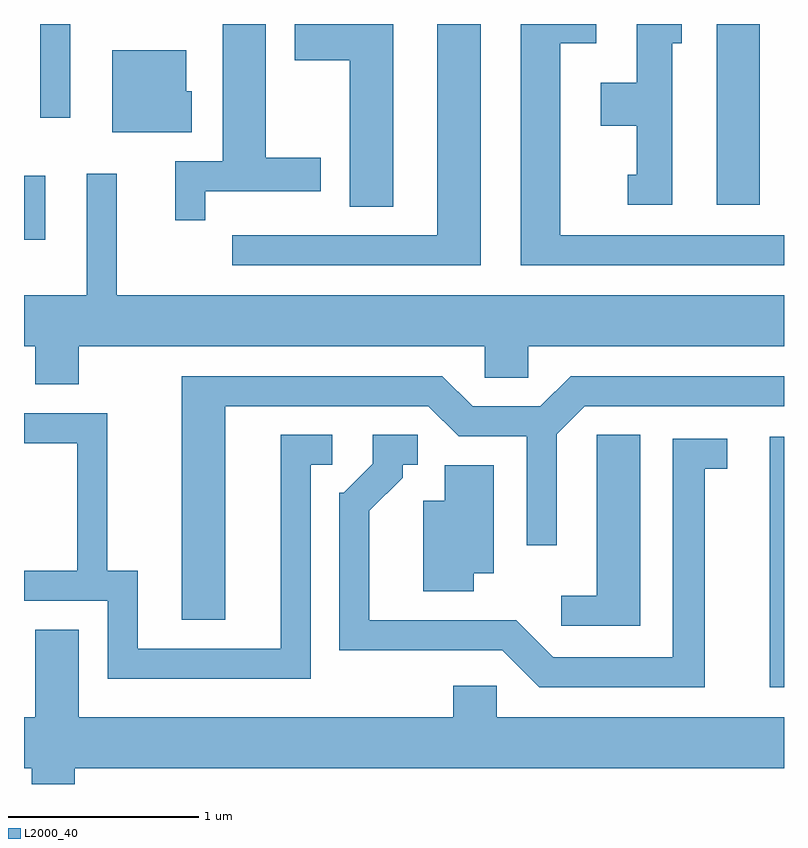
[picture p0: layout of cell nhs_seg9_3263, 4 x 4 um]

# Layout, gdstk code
import gdstk
lib = gdstk.Library(unit=1e-6, precision=1e-09)
def R(c, l, rs):  # rectangles x0, y0, x1, y1
    for r in rs: c.add(gdstk.rectangle(r[:2], r[2:], *l))
def P(c, l, *ps):  # polygons
    for p in ps: c.add(gdstk.Polygon(p, *l))
L2000_40 = (2000, 40)

nhs_seg9_3263 = lib.new_cell('nhs_seg9_3263')
R(nhs_seg9_3263, L2000_40, [(285.536,1958.941,285.611,1960.259), (281.611,1961.296,281.724,1961.634), (285.256,1961.481,285.484,1962.432), (281.696,1961.938,281.854,1962.432)])
P(nhs_seg9_3263, L2000_40, [(283.554,1962.432),(283.036,1962.432),(283.036,1962.241),(283.326,1962.241),(283.326,1961.471),(283.554,1961.471)],
  [(285.611,1961.319),(284.434,1961.319),(284.434,1962.331),(284.623,1962.331),(284.623,1962.432),(284.226,1962.432),(284.226,1961.161),(285.611,1961.161)],
  [(285.024,1962.331),(285.073,1962.331),(285.073,1962.432),(284.836,1962.432),(284.836,1962.124),(284.646,1962.124),(284.646,1961.896),(284.836,1961.896),(284.836,1961.639),(284.788,1961.639),(284.788,1961.481),(285.024,1961.481)],
  [(282.564,1961.551),(283.174,1961.551),(283.174,1961.729),(282.884,1961.729),(282.884,1962.432),(282.656,1962.432),(282.656,1961.709),(282.406,1961.709),(282.406,1961.398),(282.564,1961.398)],
  [(284.014,1962.432),(283.786,1962.432),(283.786,1961.319),(282.708,1961.319),(282.708,1961.161),(284.014,1961.161)],
  [(282.494,1962.079),(282.464,1962.079),(282.464,1962.294),(282.076,1962.294),(282.076,1961.861),(282.494,1961.861)],
  [(281.899,1960.736),(284.036,1960.736),(284.036,1960.571),(284.264,1960.571),(284.264,1960.736),(285.611,1960.736),(285.611,1961.004),(282.099,1961.004),(282.099,1961.643),(281.941,1961.643),(281.941,1961.004),(281.611,1961.004),(281.611,1960.736),(281.671,1960.736),(281.671,1960.536),(281.899,1960.536)],
  [(282.669,1960.421),(283.739,1960.421),(283.899,1960.261),(284.256,1960.261),(284.256,1959.688),(284.414,1959.688),(284.414,1960.274),(284.562,1960.421),(285.611,1960.421),(285.611,1960.579),(284.489,1960.579),(284.329,1960.419),(283.972,1960.419),(283.812,1960.579),(282.441,1960.579),(282.441,1959.296),(282.669,1959.296)],
  [(283.119,1960.111),(283.233,1960.111),(283.233,1960.269),(282.961,1960.269),(282.961,1959.144),(282.209,1959.144),(282.209,1959.554),(282.049,1959.554),(282.049,1960.384),(281.611,1960.384),(281.611,1960.226),(281.891,1960.226),(281.891,1959.554),(281.611,1959.554),(281.611,1959.396),(282.051,1959.396),(282.051,1958.986),(283.119,1958.986)],
  [(284.854,1960.269),(284.626,1960.269),(284.626,1959.424),(284.438,1959.424),(284.438,1959.266),(284.854,1959.266)],
  [(285.194,1960.091),(285.313,1960.091),(285.313,1960.249),(285.026,1960.249),(285.026,1959.099),(284.397,1959.099),(284.202,1959.294),(283.429,1959.294),(283.429,1959.869),(283.604,1960.044),(283.604,1960.111),(283.683,1960.111),(283.683,1960.269),(283.446,1960.269),(283.446,1960.117),(283.294,1959.964),(283.271,1959.964),(283.271,1959.136),(284.129,1959.136),(284.324,1958.941),(285.194,1958.941)],
  [(283.979,1959.541),(284.084,1959.541),(284.084,1960.109),(283.826,1960.109),(283.826,1959.924),(283.711,1959.924),(283.711,1959.446),(283.979,1959.446)],
  [(281.879,1958.516),(285.611,1958.516),(285.611,1958.784),(284.099,1958.784),(284.099,1958.949),(283.871,1958.949),(283.871,1958.784),(281.899,1958.784),(281.899,1959.244),(281.671,1959.244),(281.671,1958.784),(281.611,1958.784),(281.611,1958.516),(281.651,1958.516),(281.651,1958.432),(281.879,1958.432)])

lib.write_gds('nhs_seg9_3263.gds')
